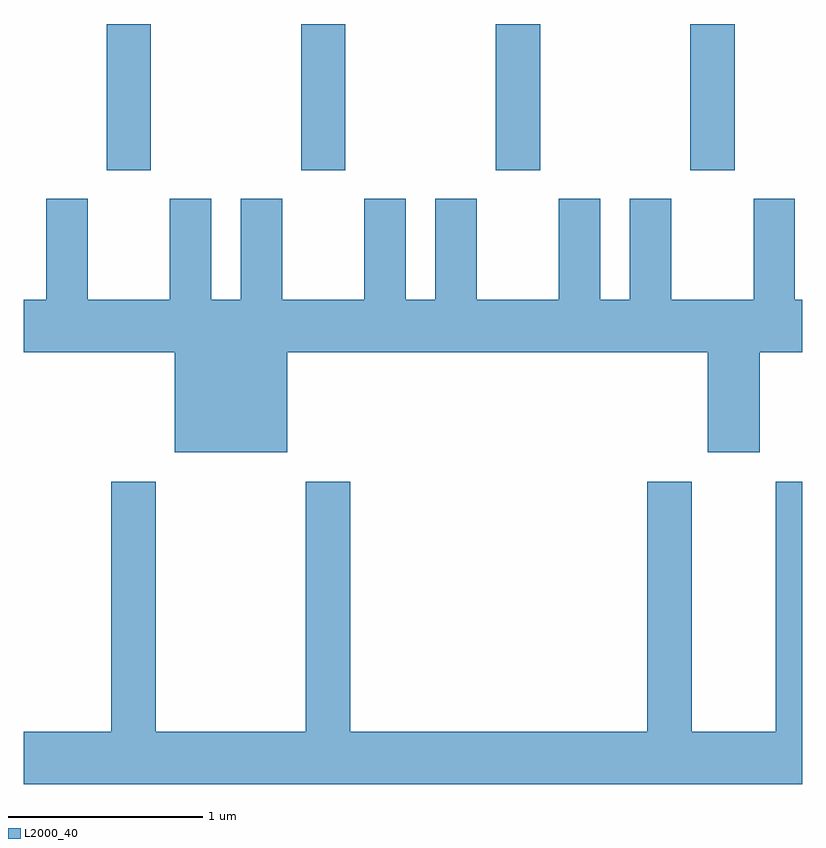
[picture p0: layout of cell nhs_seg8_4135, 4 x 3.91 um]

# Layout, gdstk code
import gdstk
lib = gdstk.Library(unit=1e-6, precision=1e-09)
def R(c, l, rs):  # rectangles x0, y0, x1, y1
    for r in rs: c.add(gdstk.rectangle(r[:2], r[2:], *l))
def A(c, l, x, y, w, h, nx, ny, dx, dy):  # array of equal rectangles
    R(c, l, [(x+i*dx, y+j*dy, x+i*dx+w, y+j*dy+h) for i in range(nx) for j in range(ny)])
def P(c, l, *ps):  # polygons
    for p in ps: c.add(gdstk.Polygon(p, *l))
L2000_40 = (2000, 40)

nhs_seg8_4135 = lib.new_cell('nhs_seg8_4135')
A(nhs_seg8_4135, L2000_40, 310.036, 1819.591, 0.228, 0.751, 4, 1, 1, 0)
P(nhs_seg8_4135, L2000_40, [(310.964,1818.656),(313.126,1818.656),(313.126,1818.141),(313.394,1818.141),(313.394,1818.656),(313.611,1818.656),(313.611,1818.924),(313.574,1818.924),(313.574,1819.444),(313.361,1819.444),(313.361,1818.924),(312.939,1818.924),(312.939,1819.444),(312.726,1819.444),(312.726,1818.924),(312.574,1818.924),(312.574,1819.444),(312.361,1819.444),(312.361,1818.924),(311.939,1818.924),(311.939,1819.444),(311.726,1819.444),(311.726,1818.924),(311.574,1818.924),(311.574,1819.444),(311.361,1819.444),(311.361,1818.924),(310.939,1818.924),(310.939,1819.444),(310.726,1819.444),(310.726,1818.924),(310.574,1818.924),(310.574,1819.444),(310.361,1819.444),(310.361,1818.924),(309.939,1818.924),(309.939,1819.444),(309.726,1819.444),(309.726,1818.924),(309.611,1818.924),(309.611,1818.656),(310.386,1818.656),(310.386,1818.141),(310.964,1818.141)],
  [(313.611,1817.989),(313.476,1817.989),(313.476,1816.704),(313.044,1816.704),(313.044,1817.989),(312.816,1817.989),(312.816,1816.704),(311.289,1816.704),(311.289,1817.989),(311.061,1817.989),(311.061,1816.704),(310.289,1816.704),(310.289,1817.989),(310.061,1817.989),(310.061,1816.704),(309.611,1816.704),(309.611,1816.436),(313.611,1816.436)])

lib.write_gds('nhs_seg8_4135.gds')
